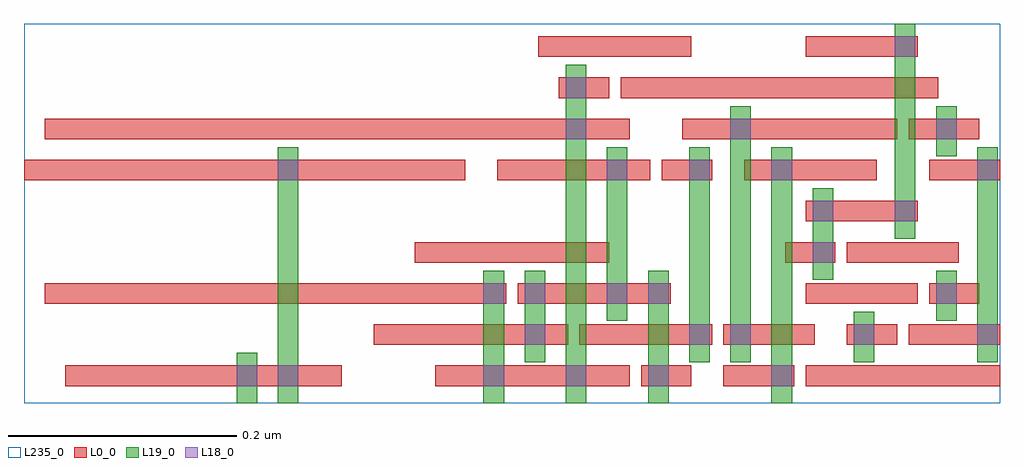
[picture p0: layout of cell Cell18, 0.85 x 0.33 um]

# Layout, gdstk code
import gdstk
lib = gdstk.Library(unit=1e-6, precision=2.5e-10)
def R(c, l, rs):  # rectangles x0, y0, x1, y1
    for r in rs: c.add(gdstk.rectangle(r[:2], r[2:], *l))
def A(c, l, x, y, w, h, nx, ny, dx, dy):  # array of equal rectangles
    R(c, l, [(x+i*dx, y+j*dy, x+i*dx+w, y+j*dy+h) for i in range(nx) for j in range(ny)])
L0_0 = (0, 0)
L18_0 = (18, 0)
L19_0 = (19, 0)
L235_0 = (235, 0)

cell18 = lib.new_cell('Cell18')
R(cell18, L0_0, [(0.04,-0.001,0.282,0.017), (0.364,-0.001,0.534,0.017), (0.544,-0.001,0.588,0.017), (0.616,-0.001,0.678,0.017), (0.688,-0.001,0.858,0.017), (0.31,0.035,0.48,0.053), (0.49,0.035,0.606,0.053), (0.616,0.035,0.696,0.053), (0.724,0.035,0.768,0.053), (0.778,0.035,0.858,0.053), (0.022,0.071,0.426,0.089), (0.436,0.071,0.57,0.089), (0.688,0.071,0.786,0.089), (0.796,0.071,0.84,0.089), (0.346,0.107,0.516,0.125), (0.67,0.107,0.714,0.125), (0.724,0.107,0.822,0.125), (0.688,0.143,0.786,0.161), (0.004,0.179,0.39,0.197), (0.418,0.179,0.552,0.197), (0.562,0.179,0.606,0.197), (0.634,0.179,0.75,0.197), (0.796,0.179,0.858,0.197), (0.022,0.215,0.534,0.233), (0.58,0.215,0.768,0.233), (0.778,0.215,0.84,0.233), (0.472,0.251,0.516,0.269), (0.526,0.251,0.804,0.269), (0.454,0.287,0.588,0.305), (0.688,0.287,0.786,0.305)])
A(cell18, L18_0, 0.406, -0.001, 0.018, 0.018, 3, 1, 0.072, 0)
A(cell18, L18_0, 0.622, 0.035, 0.018, 0.018, 3, 1, 0.108, 0)
A(cell18, L18_0, 0.514, 0.179, 0.018, 0.018, 3, 1, 0.072, 0)
R(cell18, L18_0, [(0.19,-0.001,0.208,0.017), (0.226,-0.001,0.244,0.017), (0.658,-0.001,0.676,0.017), (0.442,0.035,0.46,0.053), (0.586,0.035,0.604,0.053), (0.406,0.071,0.424,0.089), (0.442,0.071,0.46,0.089), (0.514,0.071,0.532,0.089), (0.55,0.071,0.568,0.089), (0.802,0.071,0.82,0.089), (0.694,0.107,0.712,0.125), (0.694,0.143,0.712,0.161), (0.766,0.143,0.784,0.161), (0.226,0.179,0.244,0.197), (0.838,0.179,0.856,0.197), (0.478,0.215,0.496,0.233), (0.622,0.215,0.64,0.233), (0.802,0.215,0.82,0.233), (0.478,0.251,0.496,0.269), (0.766,0.287,0.784,0.305)])
R(cell18, L19_0, [(0.19,-0.016,0.208,0.028), (0.226,-0.016,0.244,0.208), (0.406,-0.016,0.424,0.1), (0.478,-0.016,0.496,0.28), (0.55,-0.016,0.568,0.1), (0.658,-0.016,0.676,0.208), (0.442,0.02,0.46,0.1), (0.586,0.02,0.604,0.208), (0.622,0.02,0.64,0.244), (0.73,0.02,0.748,0.064), (0.838,0.02,0.856,0.208), (0.514,0.056,0.532,0.208), (0.802,0.056,0.82,0.1), (0.694,0.092,0.712,0.172), (0.766,0.128,0.784,0.316), (0.802,0.2,0.82,0.244)])
R(cell18, L235_0, [(0.004,-0.016,0.858,0.316)])

lib.write_gds('Cell18.gds')
